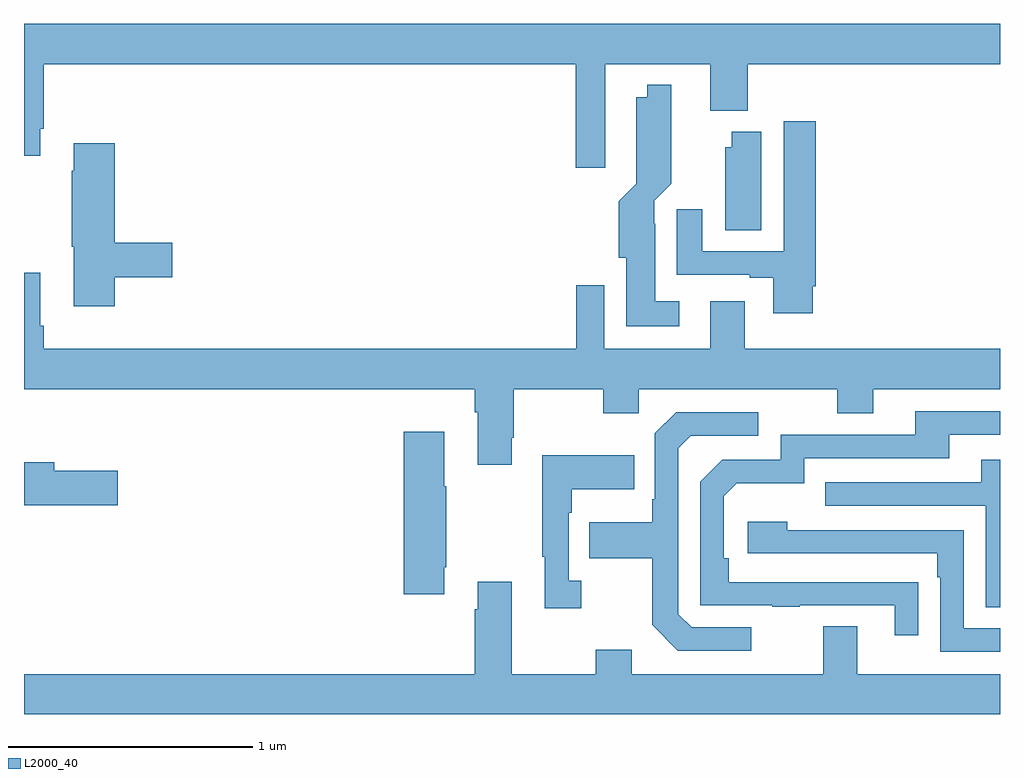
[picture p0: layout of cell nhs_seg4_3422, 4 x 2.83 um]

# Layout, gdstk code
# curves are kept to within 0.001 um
import gdstk
lib = gdstk.Library(unit=1e-6, precision=1e-09)
def P(c, l, *ps):  # polygons
    for p in ps: c.add(gdstk.Polygon(p, *l))
L2000_40 = (2000, 40)

nhs_seg4_3422 = lib.new_cell('nhs_seg4_3422')
P(nhs_seg4_3422, L2000_40, [(293.383,818.132),(293.813,818.132),(293.813,817.94),(293.966,817.94),(293.966,818.132),(295,818.132),(295,818.296),(291,818.296),(291,817.755),(291.067,817.755),(291.067,817.867),(291.08,817.867),(291.08,818.132),(293.261,818.132),(293.261,817.707),(293.383,817.707)],
  [(293.686,817.159),(293.587,817.159),(293.587,817.478),(293.583,817.478),(293.583,817.572),(293.653,817.642),(293.652,818.047),(293.555,818.047),(293.555,817.996),(293.51,817.996),(293.51,817.642),(293.438,817.57),(293.438,817.338),(293.468,817.338),(293.468,817.058),(293.686,817.058)],
  [(294.232,817.222),(294.245,817.222),(294.245,817.897),(294.113,817.897),(294.113,817.365),(293.779,817.365),(293.779,817.537),(293.675,817.537),(293.675,817.269),(293.975,817.269),(293.975,817.257),(294.071,817.257),(294.071,817.11),(294.232,817.11)],
  [(294.022,817.855),(293.9,817.855),(293.9,817.791),(293.873,817.791),(293.873,817.45),(294.022,817.45)],
  [(291.371,817.258),(291.607,817.258),(291.607,817.4),(291.371,817.4),(291.371,817.807),(291.203,817.807),(291.203,817.694),(291.196,817.694),(291.196,817.383),(291.203,817.383),(291.203,817.14),(291.371,817.14)],
  [(292.999,816.601),(293.007,816.601),(293.007,816.8),(293.374,816.8),(293.374,816.701),(293.52,816.701),(293.52,816.8),(294.334,816.8),(294.334,816.701),(294.481,816.701),(294.481,816.8),(295,816.8),(295,816.964),(293.953,816.964),(293.953,817.159),(293.813,817.159),(293.813,816.964),(293.379,816.964),(293.379,817.225),(293.263,817.225),(293.263,816.964),(291.08,816.964),(291.08,817.06),(291.067,817.06),(291.067,817.276),(291,817.276),(291,816.8),(292.847,816.8),(292.847,816.704),(292.859,816.704),(292.859,816.489),(292.999,816.489)],
  [(294.665,816.008),(293.888,816.009),(293.888,816.106),(293.868,816.106),(293.868,816.36),(293.921,816.413),(294.198,816.413),(294.198,816.516),(294.793,816.516),(294.793,816.612),(295,816.612),(295,816.708),(294.653,816.708),(294.653,816.612),(294.102,816.612),(294.102,816.51),(293.862,816.51),(293.772,816.42),(293.772,815.913),(294.067,815.913),(294.067,815.908),(294.179,815.908),(294.179,815.913),(294.569,815.913),(294.569,815.79),(294.665,815.79)],
  [(293.98,815.823),(293.736,815.823),(293.682,815.877),(293.682,816.558),(293.733,816.609),(294.01,816.609),(294.01,816.705),(293.673,816.705),(293.586,816.618),(293.586,816.349),(293.574,816.349),(293.574,816.253),(293.317,816.253),(293.317,816.106),(293.574,816.106),(293.574,815.833),(293.679,815.727),(293.98,815.727)],
  [(292.723,816.07),(292.731,816.07),(292.731,816.401),(292.723,816.401),(292.723,816.625),(292.556,816.625),(292.556,815.958),(292.723,815.958)],
  [(293.284,816.014),(293.232,816.014),(293.232,816.293),(293.245,816.293),(293.245,816.389),(293.501,816.389),(293.501,816.529),(293.124,816.529),(293.124,816.113),(293.135,816.113),(293.135,815.901),(293.284,815.901)],
  [(295,816.511),(294.923,816.511),(294.923,816.417),(294.283,816.417),(294.283,816.321),(294.942,816.321),(294.942,815.905),(295,815.905)],
  [(291.385,816.465),(291.124,816.465),(291.124,816.499),(291,816.499),(291,816.323),(291.385,816.323)],
  [(295,815.82),(294.852,815.82),(294.852,816.222),(294.128,816.222),(294.128,816.256),(293.967,816.256),(293.967,816.126),(294.743,816.126),(294.743,816.029),(294.756,816.029),(294.756,815.724),(295,815.724)],
  [(295,815.632),(294.415,815.632),(294.415,815.827),(294.275,815.827),(294.275,815.632),(293.491,815.632),(293.491,815.731),(293.344,815.731),(293.344,815.632),(292.999,815.632),(292.999,816.01),(292.859,816.01),(292.859,815.897),(292.847,815.897),(292.847,815.632),(291,815.632),(291,815.468),(295,815.468)])

lib.write_gds('nhs_seg4_3422.gds')
